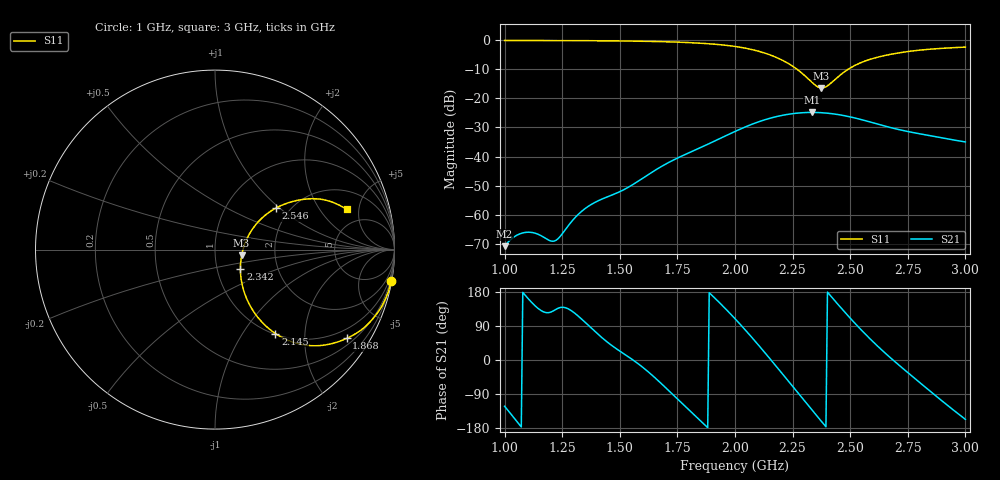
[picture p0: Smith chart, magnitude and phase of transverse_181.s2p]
! TOUCHSTONE file generated by CST MICROWAVE STUDIO
! Date and time: Tue Mar 11 13:57:24 2025
! Project name: transverse.cst
! Parameters = {Fracture=1; B=12.5; D=160; F=5; Feed=2.85625; L=100; M=10; R=0.384908; S=1; Theta=180; length=57.125; wave=114.25}
! Header version: 2024
! Port assignment regex: !\s*Touchstone port\s*([0-9]+)\s*=\s*(CST MWS port|CST DES external port|CST DES block port)\s*(.+)\s* \(\"(.*)\"\)(\s*mode\s*([0-9]+))?.*
! Touchstone port assignment:
! Touchstone port 1 = CST MWS port 1 ("")
! Touchstone port 2 = CST MWS port 2 ("")
# GHz S MA R 50
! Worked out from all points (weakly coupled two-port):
!   305 points, 1 GHz to 3 GHz, reference 50 ohm
!   highest |S21| = -24.81 dB at 2.336 GHz (marker M1); lowest = -70.9 dB at 1 GHz (marker M2)
!   lowest |S11| = -16.4 dB at 2.375 GHz (marker M3), VSWR 1.36, Z = 67.2 - j4.45 ohm
!   |S11| at or under -10 dB: 2.27 GHz to 2.49 GHz (220 MHz wide, 9.24 % of centre)
!   S12 and S22 are empty: the file has one direction only
!   S11 on the Smith chart (normalised r, x): 1 GHz: 0, -11; 1.868 GHz: 0.69, -3.14; 2.145 GHz: 1.01, -1.42; 2.342 GHz: 1.29, -0.28; 2.546 GHz: 1.70, +0.95; 3 GHz: 3.38, +3.69
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1  0.9979 -10.0  0.0002853 -122.1  0 0.0  0 0.0
1.04605  0.9971 -10.6  0.0004245 -156.9  0 0.0  0 0.0
1.09211  0.9963 -11.3  0.0004938 169.0  0 0.0  0 0.0
1.13158  0.9957 -11.9  0.0004789 143.4  0 0.0  0 0.0
1.21711  0.9945 -13.3  0.0003511 131.6  0 0.0  0 0.0
1.33553  0.9899 -15.5  0.001146 107.2  0 0.0  0 0.0
1.39474  0.987 -16.8  0.00164 73.8  0 0.0  0 0.0
1.53289  0.9758 -20.3  0.00289 10.2  0 0.0  0 0.0
1.67105  0.9545 -24.8  0.006398 -57.1  0 0.0  0 0.0
1.86842  0.885 -34.0  0.01536 -170.9  0 0.0  0 0.0
2  0.7872 -42.8  0.02702 109.0  0 0.0  0 0.0
2.14474  0.576 -54.3  0.04477 8.4  0 0.0  0 0.0
2.24342  0.3747 -58.0  0.05428 -64.5  0 0.0  0 0.0
2.33553  0.1868 -40.6  0.05747 -132.9  0 0.0  0 0.0
2.34211  0.1772 -37.0  0.05744 -137.8  0 0.0  0 0.0
2.375  0.1517 -12.3  0.05682 -161.9  0 0.0  0 0.0
2.40132  0.1651 8.5  0.05575 179.1  0 0.0  0 0.0
2.46053  0.2605 31.0  0.05173 137.3  0 0.0  0 0.0
2.54605  0.4129 34.3  0.04347 80.6  0 0.0  0 0.0
2.67105  0.5712 29.4  0.03181 7.8  0 0.0  0 0.0
2.82895  0.6963 22.7  0.02351 -73.2  0 0.0  0 0.0
3  0.7669 17.1  0.01783 -156.6  0 0.0  0 0.0
